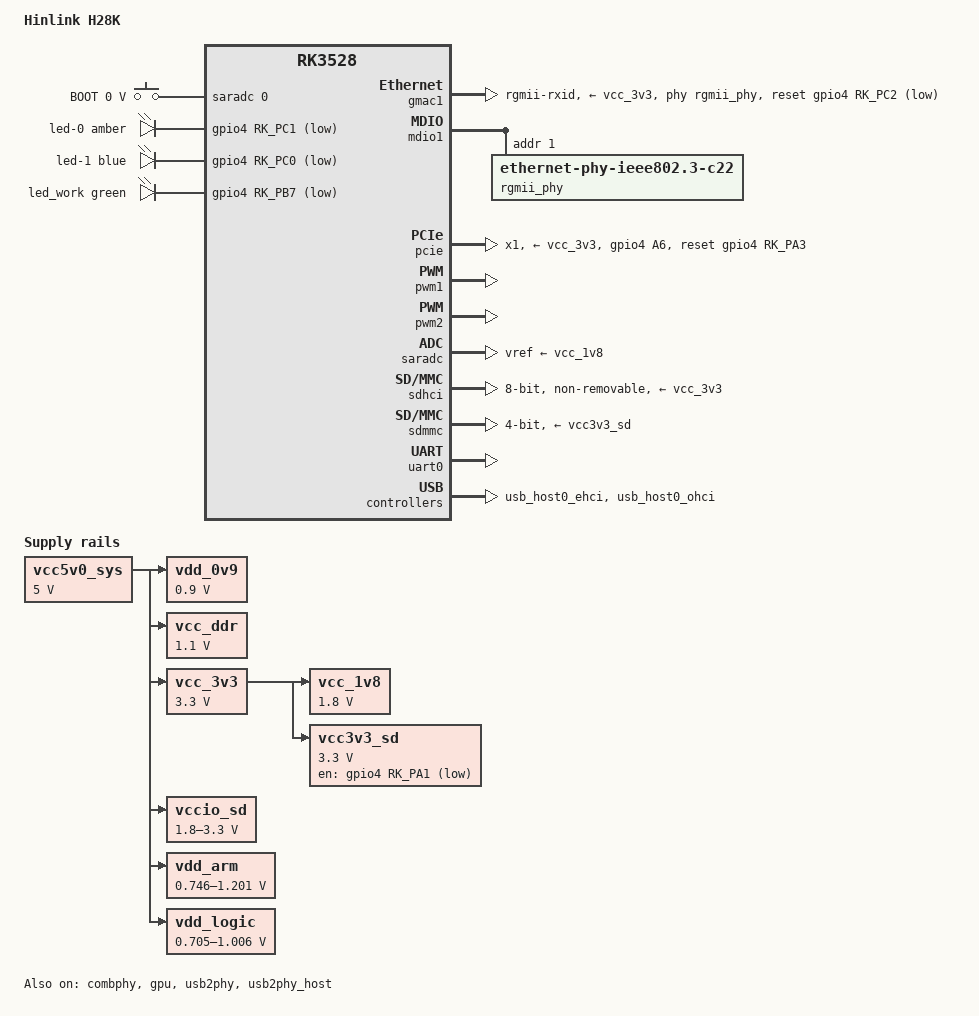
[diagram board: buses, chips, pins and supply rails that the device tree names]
// SPDX-License-Identifier: (GPL-2.0+ OR MIT)
/*
 * HinLink OPC-H28K (RK3528)
 *
 * ★ 本文件已按厂商固件 QWRT-R24.07.07-rockchip-rk35xx-hinlink_h28x 更正。
 *   厂商 dtb 已归档为 vendor-h28x.dtb（59319 B，compatible = "hlink,h28k"）。
 *
 * 网络构成：**双网口** —— 板载 RGMII + PCIe 千兆
 *
 *   网口1 = RTL8211F RGMII 千兆  -> gmac1（板载 PHY，MDIO 地址 1）
 *   网口2 = RTL8111H  PCIe 千兆  -> pcie@fe4f0000（combphy 作 PCIe PHY）
 *   ⇒ 依据：HinLink 官网产品页「网口1 RTL8211F RGMII 千兆 /
 *            网口2 RTL8111H PCIe 千兆」，与厂商 dtb 的 PCIe 链路一致。
 *
 * ★ 为什么 DTS 里不写 pcie-eth 子节点（这曾让我误判成单口）：
 *
 *   厂商 dtb 里 `/pcie@fe4f0000` 下面**只有** legacy-interrupt-controller，
 *   没有任何 pci10ec / pcie-eth 子节点，全树 pci10ec 也出现 0 次。
 *   ——但这**不代表板上没有 PCIe 网卡**。
 *
 *   原因：RTL8111H 是标准 PCI 设备，PCIe 控制器一旦使能，内核 pcie 驱动
 *   枚举 bus 时会自动发现它并绑定 r8169 驱动。DT 里**本来就不需要**
 *   声明网卡节点，写了反而多余。
 *
 *   厂商 dtb 里 PCIe 硬件链路是完整使能的（这是网卡能出现的前提）：
 *     /pcie@fe4f0000        status = "okay"
 *                            phys = <&phy@ffdc0000>  (phy-names = "pcie-phy")
 *                            num-lanes = <1>、max-link-speed = <2>
 *     /phy@ffdc0000         compatible = "rockchip,rk3528-naneng-combphy"
 *                            status = "okay"   ← combphy 作 PCIe PHY
 *
 *   ⇒ 所以正确做法与 RK3568 各机型一致：**不写 pcie-eth，靠 PCI 枚举**。
 *
 * ★ 存储（厂商 dtb + 官网「8G板载 eMMC / TF卡 x1 / 最大512GB」）：
 *     /mmc@ffbf0000  bus-width=8  non-removable  mmc-hs200-1_8v  → 板载 eMMC
 *     /mmc@ffc30000  bus-width=4  cap-sd-highspeed             → TF 卡
 *
 * ★ 无板载 WiFi —— 厂商 dtb 里 `/mmc@ffbf0000` 带 `no-sdio` 属性，
 *   明确禁用 SDIO（RK3528 的 WiFi 走 sdio0）。本 DTS 不声明 sdio 链路，
 *   target 也不带 kmod-aic8800s。上游 unifreq 的 rk3528-hlink-h28k.dts
 *   同样没有任何 sdio/wifi 节点，两侧独立印证。
 *
 * ★ PHY 参数全部为厂商 dtb 原值（详见下方 &gmac1 段注释）。
 */

/dts-v1/;

#include <dt-bindings/input/input.h>
#include <dt-bindings/leds/common.h>
#include <dt-bindings/pwm/pwm.h>
#include "rk3528.dtsi"

/ {
	model = "Hinlink H28K";
	compatible = "hlink,h28k", "hinlink,opc-h28k", "hinlink,h28k",
		     "linkstar,h28k", "linkstar,opc-h28k", "rockchip,rk3528";

	aliases {
		/*
		 * ★ mmc 顺序：**mmc0 = sdhci(eMMC) / mmc1 = sdmmc(TF)**
		 *
		 *   上游 openwrt patches-6.18/101-arm64-dts-rockchip-Add-HINLINK-H28K.patch
		 *   里就是 `mmc0 = &sdhci; mmc1 = &sdmmc;`，本仓库对齐上游。
		 *
		 *   ⚠️ 厂商 QWRT 固件的 dtb 是**相反**的
		 *      （mmc0 = /mmc@ffc30000 = sdmmc(TF)，mmc1 = sdhci(eMMC)），
		 *      本仓库早期曾按厂商写成 TF 在前 —— 现改回上游顺序，原因：
		 *
		 *        board.d/02_network 用
		 *            wan_mac=$(macaddr_generate_from_mmc_cid mmcblk0)
		 *        从 mmcblk0 的 CID 生成稳定 MAC。mmcblk 编号跟随这里的
		 *        mmc0/mmc1 alias。若 mmc0 = TF 卡，则 MAC 会**跟着 TF 卡走** ——
		 *        换一张卡 MAC 就变了。mmc0 = eMMC 才能得到设备级稳定 MAC。
		 *
		 *   厂商固件不受影响：它的 bootargs 是
		 *      root=PARTUUID=614e0000-0000   （按 PARTUUID，与 mmc 编号无关）
		 *   而 u-boot 用的是它自己的 dts（patches 107），与此处无关。
		 */
		ethernet0 = &gmac1;
		mmc0 = &sdhci;
		mmc1 = &sdmmc;
		serial0 = &uart0;

		/*
		 * ★ LED 状态别名 —— OpenWrt 的 /etc/init.d/led 靠这四个 alias
		 *   显示固件状态（启动中 / failsafe / 正常 / 升级中）。
		 *   对应上游 openwrt 的
		 *   patches-6.18/121-arm64-dts-rockchip-add-led-aliases-for-HINLINK.patch，
		 *   本仓库直接写进 DTS（本仓库以 files/ 覆盖内核树，不便叠该 patch）。
		 *   指向 green:status（GPIO4_B7），即厂商的 green:work 那颗灯。
		 */
		led-boot = &led_work;
		led-failsafe = &led_work;
		led-running = &led_work;
		led-upgrade = &led_work;
	};

	chosen {
		stdout-path = "serial0:1500000n8";
	};

	keys {
		compatible = "adc-keys";
		io-channels = <&saradc 0>;
		io-channel-names = "buttons";
		keyup-threshold-microvolt = <1800000>;
		poll-interval = <100>;

		button-boot {
			label = "BOOT";
			linux,code = <KEY_SETUP>;
			press-threshold-microvolt = <0>;
		};
	};

	/*
	 * LED —— 引脚与极性为厂商 dtb 原值（gpio4，低有效）：
	 *   GPIO4_B7  green:work    heartbeat   （厂商 led-work）
	 *   GPIO4_C1  yellow:led3              （厂商 led-yellow，网卡 2）
	 *   GPIO4_C0  blue:led4                （厂商 led-blue，网卡 1）
	 * 厂商只声明 3 颗（官网规格写「4 颗灯，含电源指示灯」——
	 * 第 4 颗电源灯可能是常亮硬件，不经 GPIO 控制，故 dtb 里没有）。
	 *
	 * ⚠️ LAN/WAN 的 netdev trigger 由 board.d/01_leds 按接口名接管，
	 *    这里保留厂商的 heartbeat/default-on，避免两处重复触发。
	 */
	leds {
		compatible = "gpio-leds";
		pinctrl-names = "default";
		pinctrl-0 = <&lan_led>, <&wan_led>, <&work_led>;

		led-0 {
			color = <LED_COLOR_ID_AMBER>;
			function = LED_FUNCTION_LAN;
			gpios = <&gpio4 RK_PC1 GPIO_ACTIVE_LOW>;
			linux,default-trigger = "default-on";
		};

		led-1 {
			color = <LED_COLOR_ID_BLUE>;
			function = LED_FUNCTION_WAN;
			gpios = <&gpio4 RK_PC0 GPIO_ACTIVE_LOW>;
			linux,default-trigger = "default-on";
		};

		led_work: led-2 {
			color = <LED_COLOR_ID_GREEN>;
			function = LED_FUNCTION_STATUS;
			gpios = <&gpio4 RK_PB7 GPIO_ACTIVE_LOW>;
			linux,default-trigger = "heartbeat";
		};
	};

	vdd_0v9: regulator-0v9-vdd {
		compatible = "regulator-fixed";
		regulator-name = "vdd_0v9";
		regulator-always-on;
		regulator-boot-on;
		regulator-min-microvolt = <900000>;
		regulator-max-microvolt = <900000>;
		vin-supply = <&vcc5v0_sys>;
	};

	vcc_ddr: regulator-1v1-vcc-ddr {
		compatible = "regulator-fixed";
		regulator-name = "vcc_ddr";
		regulator-always-on;
		regulator-boot-on;
		regulator-min-microvolt = <1100000>;
		regulator-max-microvolt = <1100000>;
		vin-supply = <&vcc5v0_sys>;
	};

	vcc_1v8: regulator-1v8-vcc {
		compatible = "regulator-fixed";
		regulator-name = "vcc_1v8";
		regulator-always-on;
		regulator-boot-on;
		regulator-min-microvolt = <1800000>;
		regulator-max-microvolt = <1800000>;
		vin-supply = <&vcc_3v3>;
	};

	vcc_3v3: regulator-3v3-vcc {
		compatible = "regulator-fixed";
		regulator-name = "vcc_3v3";
		regulator-always-on;
		regulator-boot-on;
		regulator-min-microvolt = <3300000>;
		regulator-max-microvolt = <3300000>;
		vin-supply = <&vcc5v0_sys>;
	};

	vcc3v3_sd: regulator-3v3-vcc-sd {
		compatible = "regulator-fixed";
		gpios = <&gpio4 RK_PA1 GPIO_ACTIVE_LOW>;
		pinctrl-names = "default";
		pinctrl-0 = <&sdmmc_pwren_l>;
		regulator-name = "vcc3v3_sd";
		regulator-min-microvolt = <3300000>;
		regulator-max-microvolt = <3300000>;
		vin-supply = <&vcc_3v3>;
	};

	vcc5v0_sys: regulator-5v0-vcc-sys {
		compatible = "regulator-fixed";
		regulator-name = "vcc5v0_sys";
		regulator-always-on;
		regulator-boot-on;
		regulator-min-microvolt = <5000000>;
		regulator-max-microvolt = <5000000>;
	};

	vccio_sd: regulator-vccio-sd {
		compatible = "regulator-gpio";
		gpios = <&gpio4 RK_PB6 GPIO_ACTIVE_HIGH>;
		pinctrl-names = "default";
		pinctrl-0 = <&sdmmc_vol_ctrl_h>;
		regulator-name = "vccio_sd";
		regulator-min-microvolt = <1800000>;
		regulator-max-microvolt = <3300000>;
		states = <1800000 0x0>, <3300000 0x1>;
		vin-supply = <&vcc5v0_sys>;
	};

	vdd_arm: regulator-vdd-arm {
		compatible = "pwm-regulator";
		pwms = <&pwm1 0 5000 PWM_POLARITY_INVERTED>;
		pwm-supply = <&vcc5v0_sys>;
		regulator-name = "vdd_arm";
		regulator-always-on;
		regulator-boot-on;
		regulator-min-microvolt = <746000>;
		regulator-max-microvolt = <1201000>;
		regulator-settling-time-up-us = <250>;
		/*
		 * ★ 厂商 dtb 原值（/vdd-cpu, regulator-ramp-delay = <6001>）。
		 *   不加这项内核会打 `vdd_cpu: ramp_delay not set` 警告，
		 *   且 cpufreq 无法正确计算调压后的等待时间。
		 */
		regulator-ramp-delay = <6001>;
	};

	vdd_logic: regulator-vdd-logic {
		compatible = "pwm-regulator";
		pwms = <&pwm2 0 5000 PWM_POLARITY_INVERTED>;
		pwm-supply = <&vcc5v0_sys>;
		regulator-name = "vdd_logic";
		regulator-always-on;
		regulator-boot-on;
		regulator-min-microvolt = <705000>;
		regulator-max-microvolt = <1006000>;
		regulator-settling-time-up-us = <250>;
		regulator-ramp-delay = <6001>;	/* 厂商 dtb 原值 */
	};
};

&combphy {
	status = "okay";
};

&cpu0 {
	cpu-supply = <&vdd_arm>;
};

&cpu1 {
	cpu-supply = <&vdd_arm>;
};

&cpu2 {
	cpu-supply = <&vdd_arm>;
};

&cpu3 {
	cpu-supply = <&vdd_arm>;
};

/*
 * 网口 1/1：板载 RGMII —— 全部为厂商 dtb 原值
 *
 * ★ 厂商 QWRT-R24.07.07 (h28x) 解出的 dtb 实证：
 *   phy-mode       = "rgmii-rxid"   ← 不是 rgmii-id
 *   tx_delay       = 59 (0x3b)
 *   rx_delay       = 无（内核 dtsi 默认）
 *   reset-gpio     = gpio4 pin18 = GPIO4_C2，低有效
 *   reset-delays-us= <0 20000 100000>
 *   pinctrl-0      = rgmii_miim / rgmii_tx_bus2 / rgmii_rx_bus2
 *                    / rgmii_rgmii_clk / rgmii_rgmii_bus
 *
 * ⚠️ 复位脚的写法与本文件原先不同：厂商把复位配在 gmac1 节点的
 *    snps,reset-gpio 上，而 PHY 节点（ethernet-phy@1）上**没有** reset-gpios。
 *    本 DTS 改为与厂商一致。
 */
&gmac1 {
	clock_in_out = "output";
	phy-handle = <&rgmii_phy>;
	phy-mode = "rgmii-rxid";
	phy-supply = <&vcc_3v3>;
	tx_delay = <0x3b>;

	snps,reset-gpio = <&gpio4 RK_PC2 GPIO_ACTIVE_LOW>;
	snps,reset-active-low;
	snps,reset-delays-us = <0 20000 100000>;

	pinctrl-names = "default";
	pinctrl-0 = <&rgmii_miim>,
		    <&rgmii_tx_bus2>,
		    <&rgmii_rx_bus2>,
		    <&rgmii_rgmii_clk>,
		    <&rgmii_rgmii_bus>;
	status = "okay";
};

&gpu {
	mali-supply = <&vdd_logic>;
	status = "okay";
};

/* PHY 只有地址与中断配置 —— 复位由 gmac1 的 snps,reset-gpio 负责 */
&mdio1 {
	rgmii_phy: ethernet-phy@1 {
		compatible = "ethernet-phy-ieee802.3-c22";
		reg = <0x1>;
	};
};

/*
 * 网口 2/2：PCIe 千兆（官网：RTL8111H PCIe 千兆）
 *
 * ★ 参数全部取自厂商 dtb（/pcie@fe4f0000 + /phy@ffdc0000）。
 *   ⚠️ 这里**刻意不写 pcie-eth 子节点** —— RTL8111H 是标准 PCI 设备，
 *      控制器使能后内核 pcie 驱动枚举时会自动发现并绑定 r8169。
 *      厂商 dtb 全树没有 pci10ec 节点，正是这个原因，
 *      **不是**因为板上没有网卡。详见文件头详细说明。
 *
 *   若实机 `ls /sys/class/net/` 没出现 eth1，才说明该版本 RTL8111H
 *   需要显式声明节点（不同 PCI ID 的 RTL8111 变体偶有这种情况），
 *   那时补 pci10ec,8168 即可。
 */
&pcie {
	pinctrl-names = "default";
	pinctrl-0 = <&rtl8111hs_isolateb_l>;
	reset-gpios = <&gpio4 RK_PA3 GPIO_ACTIVE_HIGH>;
	vpcie3v3-supply = <&vcc_3v3>;
	max-link-speed = <0x2>;      /* 厂商原值 Gen2 */
	num-lanes = <0x1>;           /* 厂商原值 */
	status = "okay";
};

&pinctrl {
	/* 注：gmac1_rstn_l 已移除 —— 厂商 dtb 把 PHY 复位配在 gmac1 的
	 * snps,reset-gpio 上，不走 pinctrl 节点。 */

	leds {
		lan_led: lan-led {
			rockchip,pins = <4 RK_PC1 RK_FUNC_GPIO &pcfg_pull_none>;
		};

		wan_led: wan-led {
			rockchip,pins = <4 RK_PC0 RK_FUNC_GPIO &pcfg_pull_none>;
		};

		work_led: work-led {
			rockchip,pins = <4 RK_PB7 RK_FUNC_GPIO &pcfg_pull_none>;
		};
	};

	pcie {
		rtl8111hs_isolateb_l: rtl8111hs-isolateb-l {
			rockchip,pins = <4 RK_PA6 RK_FUNC_GPIO &pcfg_pull_up>;
		};
	};

	sdmmc {
		sdmmc_pwren_l: sdmmc-pwren-l {
			rockchip,pins = <4 RK_PA1 RK_FUNC_GPIO &pcfg_pull_none>;
		};

		sdmmc_vol_ctrl_h: sdmmc-vol-ctrl-h {
			rockchip,pins = <4 RK_PB6 RK_FUNC_GPIO &pcfg_pull_none>;
		};
	};
};

&pwm1 {
	pinctrl-names = "default";
	pinctrl-0 = <&pwm1m0_pins>;
	status = "okay";
};

&pwm2 {
	pinctrl-names = "default";
	pinctrl-0 = <&pwm2m0_pins>;
	status = "okay";
};

&saradc {
	vref-supply = <&vcc_1v8>;
	status = "okay";
};

/*
 * 存储（厂商 dtb + 官网「8G板载 eMMC / TF卡 x1 / 最大支持 512GB」）
 *
 * /mmc@ffbf0000 = sdhci  → 板载 8G eMMC
 *   厂商原值：bus-width=8、cap-mmc-highspeed、mmc-hs200-1_8v、
 *             no-sd、no-sdio、non-removable、max-frequency=200000000
 *   ⚠️ `no-sdio` 就是厂商声明「本机无 WiFi」的依据 —— RK3528 的 WiFi 走 sdio0。
 *     注意本机 TF 卡走的是 sdmmc（mmc@ffc30000），不是这个控制器。
 *
 * /mmc@ffc30000 = sdmmc → TF 卡槽
 *   厂商原值：bus-width=4、cap-mmc-highspeed、cap-sd-highspeed、disable-wp、
 *             supports-sd、max-frequency=150000000、
 *             rockchip,use-v2-tuning、4 组 pinctrl
 */
&sdhci {
	bus-width = <8>;
	cap-mmc-highspeed;
	mmc-hs200-1_8v;
	non-removable;
	no-sd;
	no-sdio;
	max-frequency = <200000000>;
	vmmc-supply = <&vcc_3v3>;
	vqmmc-supply = <&vcc_1v8>;
	status = "okay";
};

&sdmmc {
	bus-width = <4>;
	cap-mmc-highspeed;
	cap-sd-highspeed;
	disable-wp;
	supports-sd;
	rockchip,use-v2-tuning;
	max-frequency = <150000000>;
	vmmc-supply = <&vcc3v3_sd>;
	vqmmc-supply = <&vccio_sd>;
	status = "okay";
};

&uart0 {
	pinctrl-names = "default";
	pinctrl-0 = <&uart0m0_xfer>;
	status = "okay";
};

&usb2phy {
	status = "okay";
};

&usb2phy_host {
	phy-supply = <&vcc5v0_sys>;
	status = "okay";
};

&usb_host0_ehci {
	status = "okay";
};

&usb_host0_ohci {
	status = "okay";
};
